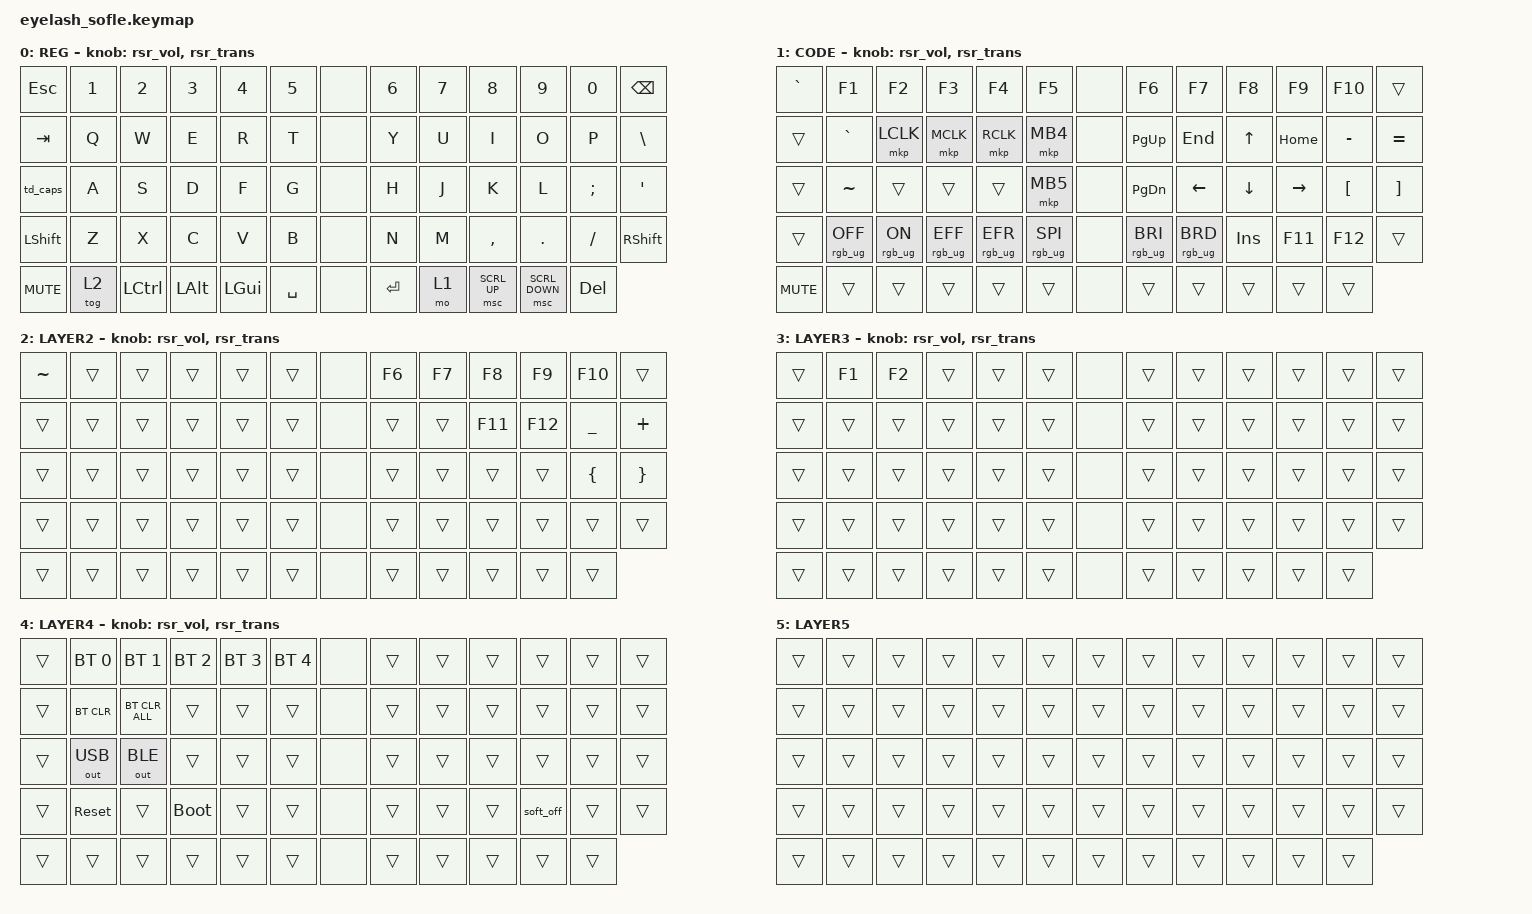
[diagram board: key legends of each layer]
#define ZMK_POINTING_DEFAULT_MOVE_VAL 1200  // 600
#define ZMK_POINTING_DEFAULT_SCRL_VAL 25   // 10

#include <input/processors.dtsi>
#include <zephyr/dt-bindings/input/input-event-codes.h>
#include <behaviors/runtime-sensor-rotate.dtsi>
#include <behaviors.dtsi>
#include <dt-bindings/zmk/bt.h>
#include <dt-bindings/zmk/keys.h>
#include <dt-bindings/zmk/outputs.h>
#include <dt-bindings/zmk/pointing.h>
#include <dt-bindings/zmk/rgb.h>

&mmv_input_listener { input-processors = <&zip_xy_scaler 2 1>; };

&msc_input_listener { input-processors = <&zip_scroll_scaler 2 1>; };

&msc {
    acceleration-exponent = <1>;      // 0
    time-to-max-speed-ms = <100>;       // 300
    delay-ms = <0>;                   // 0
};

&mmv {
    time-to-max-speed-ms = <500>;
    acceleration-exponent = <1>;
    trigger-period-ms = <16>;
};

&soft_off { hold-time-ms = <2000>; };

/ {
    scroll_encoder: scroll_encoder {
        compatible = "zmk,behavior-sensor-rotate";
        #sensor-binding-cells = <0>;
        bindings = <&msc SCRL_DOWN>, <&msc SCRL_UP>;

        tap-ms = <100>;
    };

    behaviors {
        rsr_vol: rsr_vol {
            compatible = "zmk,behavior-runtime-sensor-rotate";
            #sensor-binding-cells = <0>;
            tap-ms = <5>;
            cw-binding = <&kp C_VOL_UP>;
            ccw-binding = <&kp C_VOL_DN>;
        };

        td_caps: td_caps {
            compatible = "zmk,behavior-tap-dance";
            #binding-cells = <0>;
            label = "TD_CAPS";
            tapping-term-ms = <220>;
            bindings = <&caps_word>, <&kp CAPS>;
        };

        rsr_trans: rsr_trans {
            compatible = "zmk,behavior-runtime-sensor-rotate";
            #sensor-binding-cells = <0>;
            tap-ms = <0>;
        };
    };

    combos {
        compatible = "zmk,combos";

        // --- developer combos, layer 0 only ---
        // require-prior-idle-ms stops these firing mid-burst while typing fast.

        combo_shot_region {
            bindings = <&kp LG(LS(N4))>;
            key-positions = <34 35 36>;      // J K L
            timeout-ms = <50>;
            require-prior-idle-ms = <100>;
            layers = <0>;
        };

        combo_shot_full {
            bindings = <&kp LG(LS(N3))>;
            key-positions = <47 48 49>;      // M , .
            timeout-ms = <50>;
            require-prior-idle-ms = <100>;
            layers = <0>;
        };

        combo_shot_ui {
            bindings = <&kp LG(LS(N5))>;
            key-positions = <21 22 23>;      // U I O
            timeout-ms = <50>;
            require-prior-idle-ms = <100>;
            layers = <0>;
        };

        combo_shot_clip {
            bindings = <&kp LG(LC(LS(N4)))>;
            key-positions = <33 34 35>;      // H J K  (region -> clipboard)
            timeout-ms = <50>;
            require-prior-idle-ms = <100>;
            layers = <0>;
        };

        combo_cmd_palette {
            bindings = <&kp LG(LS(P))>;
            key-positions = <28 29 30>;      // S D F
            timeout-ms = <50>;
            require-prior-idle-ms = <100>;
            layers = <0>;
        };

        combo_quick_open {
            bindings = <&kp LG(P)>;
            key-positions = <15 16 17>;      // W E R
            timeout-ms = <50>;
            require-prior-idle-ms = <100>;
            layers = <0>;
        };

        combo_comment {
            bindings = <&kp LG(SLASH)>;
            key-positions = <41 42 43>;      // X C V
            timeout-ms = <50>;
            require-prior-idle-ms = <100>;
            layers = <0>;
        };

        // --- system layer: both top corners together, deliberately unreachable by accident ---

        combo_sys_mode {
            bindings = <&tog 4>;
            key-positions = <0 12>;          // ESC + BACKSPACE
            timeout-ms = <60>;
            layers = <0 4>;                  // usable to enter AND to leave
        };

        softoff {
            bindings = <&soft_off>;
            key-positions = <14 28 40>;
        };
    };

    macros {
        SHIFT_MCLK: SHIFT_MCLK {
            compatible = "zmk,behavior-macro";
            #binding-cells = <0>;
            bindings =
                <&macro_press>,
                <&kp LEFT_SHIFT>,
                <&macro_press>,
                <&mkp MB3>,
                <&macro_pause_for_release>,
                <&macro_release>,
                <&kp LEFT_SHIFT &mkp MB3>;

            label = "SHIFT_MCLK";
        };
    };

    keymap {
        compatible = "zmk,keymap";

        layer0 {
            bindings = <
&kp ESC     &kp N1  &kp N2            &kp N3        &kp N4    &kp N5       &none  &kp N6     &kp N7  &kp N8        &kp N9          &kp N0      &kp BACKSPACE
&kp TAB     &kp Q   &kp W             &kp E         &kp R     &kp T        &none  &kp Y      &kp U   &kp I         &kp O           &kp P       &kp BSLH
&td_caps    &kp A   &kp S             &kp D         &kp F     &kp G        &none  &kp H      &kp J   &kp K         &kp L           &kp SEMI    &kp APOS
&kp LSHFT   &kp Z   &kp X             &kp C         &kp V     &kp B        &none  &kp N      &kp M   &kp COMMA     &kp DOT         &kp FSLH    &kp RIGHT_SHIFT
&kp C_MUTE  &tog 2  &kp LEFT_CONTROL  &kp LEFT_ALT  &kp LGUI  &kp SPACE    &none  &kp ENTER  &mo 1   &msc SCRL_UP  &msc SCRL_DOWN  &kp DELETE
            >;

            sensor-bindings = <&rsr_vol &rsr_trans>;
            display-name = "REG";
        };

        layer_1 {
            bindings = <
&kp GRAVE   &kp F1           &kp F2          &kp F3           &kp F4           &kp F5             &none  &kp F6           &kp F7           &kp F8      &kp F9     &kp F10           &trans
&trans      &kp GRAVE        &mkp LCLK       &mkp MCLK        &mkp RCLK        &mkp MB4           &none  &kp PG_UP        &kp END          &kp UP      &kp HOME   &kp MINUS         &kp EQUAL
&trans      &kp TILDE        &trans          &trans           &trans           &mkp MB5           &none  &kp PG_DN        &kp LEFT         &kp DOWN    &kp RIGHT  &kp LEFT_BRACKET  &kp RIGHT_BRACKET
&trans      &rgb_ug RGB_OFF  &rgb_ug RGB_ON  &rgb_ug RGB_EFF  &rgb_ug RGB_EFR  &rgb_ug RGB_SPI    &none  &rgb_ug RGB_BRI  &rgb_ug RGB_BRD  &kp INSERT  &kp F11    &kp F12           &trans
&kp C_MUTE  &trans           &trans          &trans           &trans           &trans             &none  &trans           &trans           &trans      &trans     &trans
            >;

            sensor-bindings = <&rsr_vol &rsr_trans>;
            display-name = "CODE";
        };

        layer_2 {
            bindings = <
&kp TILDE  &trans  &trans  &trans  &trans  &trans    &none  &kp F6  &kp F7  &kp F8   &kp F9   &kp F10    &trans
&trans     &trans  &trans  &trans  &trans  &trans    &none  &trans  &trans  &kp F11  &kp F12  &kp UNDER  &kp PLUS
&trans     &trans  &trans  &trans  &trans  &trans    &none  &trans  &trans  &trans   &trans   &kp LBRC   &kp RBRC
&trans     &trans  &trans  &trans  &trans  &trans    &none  &trans  &trans  &trans   &trans   &trans     &trans
&trans     &trans  &trans  &trans  &trans  &trans    &none  &trans  &trans  &trans   &trans   &trans
            >;

            display-name = "LAYER2";
            sensor-bindings = <&rsr_vol &rsr_trans>;
        };

        layer_3 {
            bindings = <
&trans  &kp F1  &kp F2  &trans  &trans  &trans    &none  &trans  &trans  &trans  &trans  &trans  &trans
&trans  &trans  &trans  &trans  &trans  &trans    &none  &trans  &trans  &trans  &trans  &trans  &trans
&trans  &trans  &trans  &trans  &trans  &trans    &none  &trans  &trans  &trans  &trans  &trans  &trans
&trans  &trans  &trans  &trans  &trans  &trans    &none  &trans  &trans  &trans  &trans  &trans  &trans
&trans  &trans  &trans  &trans  &trans  &trans    &none  &trans  &trans  &trans  &trans  &trans
            >;

            display-name = "LAYER3";
            sensor-bindings = <&rsr_vol &rsr_trans>;
        };

        layer_4 {
            bindings = <
&trans  &bt BT_SEL 0  &bt BT_SEL 1    &bt BT_SEL 2  &bt BT_SEL 3  &bt BT_SEL 4    &none  &trans  &trans  &trans  &trans     &trans  &trans
&trans  &bt BT_CLR    &bt BT_CLR_ALL  &trans        &trans        &trans          &none  &trans  &trans  &trans  &trans     &trans  &trans
&trans  &out OUT_USB  &out OUT_BLE    &trans        &trans        &trans          &none  &trans  &trans  &trans  &trans     &trans  &trans
&trans  &sys_reset    &trans          &bootloader   &trans        &trans          &none  &trans  &trans  &trans  &soft_off  &trans  &trans
&trans  &trans        &trans          &trans        &trans        &trans          &none  &trans  &trans  &trans  &trans     &trans
            >;

            display-name = "LAYER4";
            sensor-bindings = <&rsr_vol &rsr_trans>;
        };

        layer_5 {
            bindings = <
&trans  &trans  &trans  &trans  &trans  &trans    &trans  &trans  &trans  &trans  &trans  &trans  &trans
&trans  &trans  &trans  &trans  &trans  &trans    &trans  &trans  &trans  &trans  &trans  &trans  &trans
&trans  &trans  &trans  &trans  &trans  &trans    &trans  &trans  &trans  &trans  &trans  &trans  &trans
&trans  &trans  &trans  &trans  &trans  &trans    &trans  &trans  &trans  &trans  &trans  &trans  &trans
&trans  &trans  &trans  &trans  &trans  &trans    &trans  &trans  &trans  &trans  &trans  &trans
            >;

            display-name = "LAYER5";
        };
    };
};
